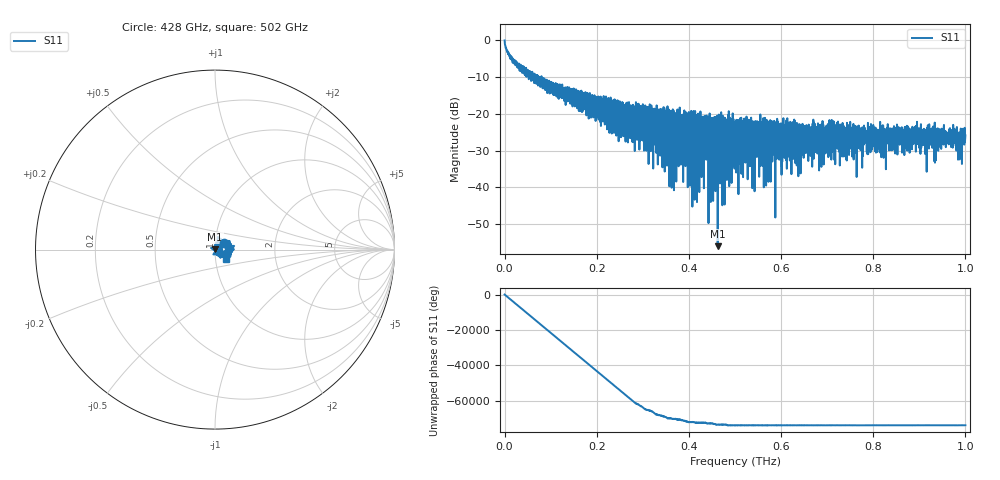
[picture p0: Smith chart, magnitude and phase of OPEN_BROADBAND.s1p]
! Fixture THz termine par un OPEN ideal : ligne Zc=55 ohm, delai=300 ps, pertes 2.0 dB @10 GHz (~sqrt(f)), eps_r_eff=3.0 -> 51.93 mm, Z0=50 ohm ; 0.010 - 1000 GHz, pas 500 MHz, 2001 points, bruit -40 dB
! Frequency(Hz) Re(S11) Im(S11)
# Hz S RI R 50
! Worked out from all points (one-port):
!   2001 points, 10 MHz to 1 THz, reference 50 ohm
!   lowest |S11| = -55.9 dB at 462.5 GHz (marker M1), VSWR 1.00, Z = 50.1 + j0.0563 ohm
!   |S11| at or under -10 dB: 71.87 GHz to 73.34 GHz (1.469 GHz wide, 2.02 % of centre); 73.56 GHz to 79.94 GHz (6.389 GHz wide, 8.32 % of centre); 80.09 GHz to end of sweep (the widest 3 of 14)
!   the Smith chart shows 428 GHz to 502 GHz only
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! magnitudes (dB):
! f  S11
! 10 MHz  -0.1
! 34.01 GHz  -8.3
! 125 GHz  -12.0
! 250 GHz  -16.6
! 340 GHz  -18.9
! 362.5 GHz  -40.1
! 375 GHz  -18.8
! 417.5 GHz  -44.0
! 436.5 GHz  -20.6
! 447.5 GHz  -43.9
! 448 GHz  -21.3
! 456.5 GHz  -20.9
! 457.5 GHz  -41.0
! 462.5 GHz  -55.9
! 470 GHz  -19.6
! 477.5 GHz  -44.6
! 500 GHz  -22.6
! 530 GHz  -21.6
! 537.5 GHz  -40.2
! 548.5 GHz  -22.0
! 562.5 GHz  -40.0
! 625 GHz  -22.2
! 750 GHz  -22.2
! 875 GHz  -23.4
! 937.5 GHz  -28.6
! 971.5 GHz  -26.4
! 987.5 GHz  -32.4
! 1 THz  -25.8
